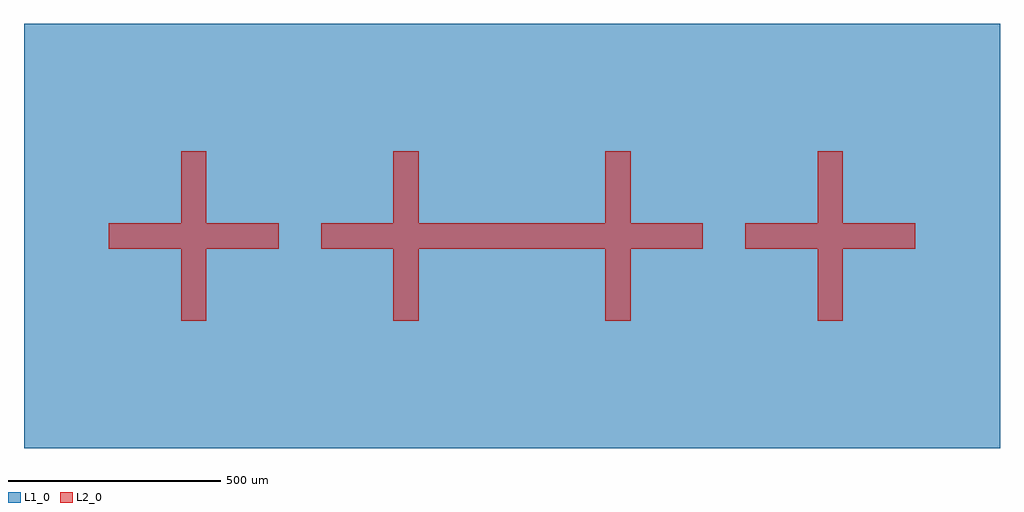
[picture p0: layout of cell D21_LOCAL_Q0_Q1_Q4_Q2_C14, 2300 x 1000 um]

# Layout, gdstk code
import gdstk
lib = gdstk.Library(unit=1e-6, precision=1e-09)
def P(c, l, *ps):  # polygons
    for p in ps: c.add(gdstk.Polygon(p, *l))
L1_0 = (1, 0)
L2_0 = (2, 0)

d21_local_q0_q1_q4_q2_c1 = lib.new_cell('D21_LOCAL_Q0_Q1_Q4_Q2_C14')
P(d21_local_q0_q1_q4_q2_c1, L1_0, [(-400,-500),(-400,500),(1900,500),(1900,-500),(-400,-500)],
  [(-180,-10),(-180,10),(-10,10),(-10,180),(10,180),(10,10),(180,10),(180,-10),(10,-10),(10,-180),(-10,-180),(-10,-10),(-180,-10)],
  [(320,-10),(320,10),(490,10),(490,180),(510,180),(510,10),(680,10),(680,-10),(510,-10),(510,-180),(490,-180),(490,-10),(320,-10)],
  [(1320,-10),(1320,10),(1490,10),(1490,180),(1510,180),(1510,10),(1680,10),(1680,-10),(1510,-10),(1510,-180),(1490,-180),(1490,-10),(1320,-10)],
  [(820,-10),(820,10),(990,10),(990,180),(1010,180),(1010,10),(1180,10),(1180,-10),(1010,-10),(1010,-180),(990,-180),(990,-10),(820,-10)],
  [(650,-10),(650,10),(741,10),(741,-10),(650,-10)],
  [(759,-10),(759,10),(850,10),(850,-10),(759,-10)])
P(d21_local_q0_q1_q4_q2_c1, L2_0, [(-200,30),(-200,-30),(-30,-30),(-30,-200),(30,-200),(30,-30),(200,-30),(200,30),(30,30),(30,200),(-30,200),(-30,30),(-200,30)],
  [(300,30),(300,-30),(470,-30),(470,-200),(530,-200),(530,-30),(650,-30),(700,-30),(800,-30),(850,-30),(970,-30),(970,-200),(1030,-200),(1030,-30),(1200,-30),(1200,30),(1030,30),(1030,200),(970,200),(970,30),(850,30),(800,30),(700,30),(650,30),(530,30),(530,200),(470,200),(470,30),(300,30)],
  [(1470,30),(1300,30),(1300,-30),(1470,-30),(1470,-200),(1530,-200),(1530,-30),(1700,-30),(1700,30),(1530,30),(1530,200),(1470,200),(1470,30)])

lib.write_gds('D21_LOCAL_Q0_Q1_Q4_Q2_C14.gds')
